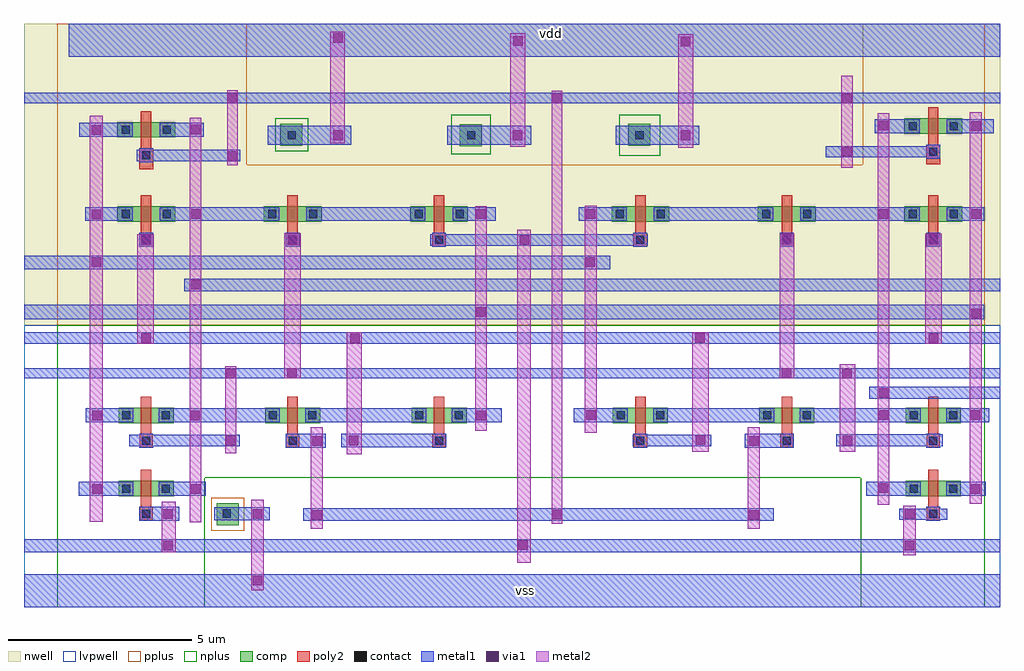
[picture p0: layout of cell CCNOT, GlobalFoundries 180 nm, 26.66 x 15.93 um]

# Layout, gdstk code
from math import pi, radians
import gdstk
lib = gdstk.Library(unit=1e-6, precision=1e-09)
def R(c, l, rs):  # rectangles x0, y0, x1, y1
    for r in rs: c.add(gdstk.rectangle(r[:2], r[2:], *l))
def P(c, l, *ps):  # polygons
    for p in ps: c.add(gdstk.Polygon(p, *l))
nwell = (21, 0)
comp = (22, 0)
poly2 = (30, 0)
pplus = (31, 0)
nplus = (32, 0)
contact = (33, 0)
metal1 = (34, 0)
via1 = (35, 0)
metal2 = (36, 0)
lvpwell = (204, 0)

nfet_1_2 = lib.new_cell('nfet$1$2')
R(nfet_1_2, comp, [(-0.42,0,0,0.42), (0,0,0.66,0.42), (0.66,0,1.08,0.42)])
R(nfet_1_2, poly2, [(0.19,-0.3,0.47,0.72), (0.15,0.72,0.51,1.08)])
R(nfet_1_2, nplus, [(-0.59,-0.24,1.25,0.66)])
R(nfet_1_2, contact, [(-0.32,0.1,-0.1,0.32), (0.76,0.1,0.98,0.32), (0.22,0.79,0.44,1.01)])
R(nfet_1_2, metal1, [(-0.4,0.02,-0.02,0.4), (0.68,0.02,1.06,0.4), (0.14,0.71,0.52,1.09)])

pfet_2 = lib.new_cell('pfet$2')
R(pfet_2, nwell, [(-0.9,-0.44,1.56,0.86)])
R(pfet_2, comp, [(-0.46,0,0,0.42), (0,0,0.66,0.42), (0.66,0,1.12,0.42)])
R(pfet_2, poly2, [(0.19,-0.3,0.47,0.72), (0.14,0.72,0.52,1.1)])
R(pfet_2, pplus, [(-0.63,-0.24,1.29,0.66)])
R(pfet_2, contact, [(-0.34,0.1,-0.12,0.32), (0.78,0.1,1,0.32), (0.22,0.8,0.44,1.02)])
R(pfet_2, metal1, [(-0.42,0.02,-0.04,0.4), (0.7,0.02,1.08,0.4), (0.14,0.72,0.52,1.1)])

ccnot = lib.new_cell('CCNOT')
R(ccnot, nwell, [(-7.665,7.255,18.99,15.48)])
R(ccnot, comp, [(-2.395,1.785,-1.795,2.385), (-2.395,1.785,-1.795,2.385), (16.45,4.6,16.77,4.98), (17.56,4.6,17.89,4.98), (4.235,12.145,4.835,12.745), (-0.66,12.15,-0.06,12.75), (8.835,12.15,9.435,12.75)])
R(ccnot, poly2, [(-4.52,11.505,-4.14,11.7), (16.98,11.645,17.36,11.8)])
R(ccnot, pplus, [(-2.55,1.64,-1.65,2.54)])
P(ccnot, pplus, [(-6.76,7.255),(-6.76,15.48),(-1.575,15.48),(-1.575,11.64),(15.245,11.64),(15.245,15.48),(18.57,15.48),(18.57,7.255)])
R(ccnot, nplus, [(8.595,11.88,9.715,13), (4.005,11.915,5.085,13.005), (-0.805,12,0.1,12.9)])
P(ccnot, nplus, [(-6.76,-0.445),(-6.76,7.255),(18.57,7.255),(18.57,-0.445),(15.19,-0.445),(15.19,3.09),(-2.725,3.09),(-2.725,-0.445)])
R(ccnot, contact, [(-2.24,2,-2.02,2.22), (-2.24,2,-2.02,2.22), (-0.46,12.325,-0.24,12.545), (4.445,12.325,4.665,12.545), (9.035,12.325,9.255,12.545)])
R(ccnot, metal1, [(-7.665,-0.445,18.99,0.455), (-7.665,1.05,18.99,1.4), (-4.14,1.91,-3.43,2.29), (-0.035,1.915,12.815,2.25), (-2.475,1.92,-0.955,2.28), (-2.475,1.92,-0.955,2.28), (16.245,1.945,17.555,2.245), (-6.17,2.6,-5.06,2.98), (-3.6,2.6,-2.695,2.98), (15.335,2.6,16.44,2.98), (17.9,2.6,18.595,2.98), (-0.14,3.91,0.57,4.29), (12.025,3.91,12.98,4.29), (1,3.92,3.865,4.285), (-4.785,3.945,-1.775,4.255), (8.965,3.945,11.11,4.265), (14.515,3.95,17.425,4.27), (-5.985,4.6,-5.06,4.98), (-3.6,4.6,-1.06,4.98), (0.395,4.6,3.055,4.98), (4.39,4.6,5.38,4.98), (7.355,4.6,8.82,4.98), (9.52,4.6,12.82,4.98), (13.895,4.6,16.44,4.98), (17.895,4.6,18.7,4.98), (15.425,5.24,18.99,5.575), (-7.665,5.805,18.99,6.075), (-7.665,7.42,18.565,7.81), (-3.295,8.185,18.99,8.525), (-7.665,8.775,8.345,9.15), (3.43,9.42,9.365,9.735), (-5.995,10.1,-5.08,10.48), (-3.61,10.1,-1.08,10.48), (0.42,10.1,2.965,10.48), (4.04,10.1,5.225,10.48), (7.49,10.1,8.42,10.48), (9.91,10.1,12.48,10.48), (13.875,10.1,16.42,10.48), (16.45,10.1,16.765,10.48), (17.56,10.1,17.89,10.48), (17.92,10.1,18.555,10.48), (-4.59,11.735,-1.755,12.04), (14.225,11.835,17.36,12.145), (-1.005,12.185,1.27,12.695), (3.895,12.185,6.195,12.695), (8.49,12.185,10.77,12.695), (-6.155,12.4,-5.08,12.78), (-3.63,12.4,-2.76,12.78), (15.565,12.5,16.42,12.88), (16.45,12.5,16.765,12.84), (17.56,12.5,17.89,12.845), (17.92,12.5,18.82,12.88), (-7.665,13.31,18.99,13.595), (-6.445,14.58,18.99,15.48)])
P(ccnot, metal1, [(-7.665,6.745),(-7.665,7.065),(11.005,7.065),(11.005,7.055),(18.99,7.055),(18.99,6.745)])
R(ccnot, via1, [(-1.42,0.145,-1.16,0.405), (-3.86,1.1,-3.6,1.36), (16.385,1.1,16.645,1.36), (5.83,1.115,6.09,1.375), (0.2,1.945,0.46,2.205), (12.135,1.945,12.395,2.205), (6.765,1.955,7.025,2.215), (-3.86,1.965,-3.6,2.225), (-1.415,1.965,-1.155,2.225), (-1.415,1.965,-1.155,2.225), (16.395,1.965,16.655,2.225), (-5.8,2.655,-5.54,2.915), (-3.105,2.655,-2.845,2.915), (18.19,2.655,18.45,2.915), (15.67,2.67,15.93,2.93), (0.205,3.96,0.465,4.22), (12.14,3.96,12.4,4.22), (1.21,3.975,1.47,4.235), (14.695,3.975,14.955,4.235), (-2.155,3.98,-1.895,4.24), (10.675,3.99,10.935,4.25), (-5.8,4.655,-5.54,4.915), (4.69,4.655,4.95,4.915), (-3.12,4.66,-2.86,4.92), (7.695,4.665,7.955,4.925), (15.68,4.665,15.94,4.925), (18.19,4.665,18.45,4.925), (15.69,5.27,15.95,5.53), (-2.145,5.81,-1.885,6.07), (14.685,5.81,14.945,6.07), (-0.47,5.815,-0.21,6.075), (13.03,5.815,13.29,6.075), (1.24,6.765,1.5,7.025), (17.045,6.77,17.305,7.03), (-4.465,6.775,-4.205,7.035), (10.665,6.775,10.925,7.035), (18.2,7.445,18.46,7.705), (4.68,7.48,4.94,7.74), (-3.095,8.23,-2.835,8.49), (-5.82,8.845,-5.56,9.105), (7.665,8.855,7.925,9.115), (5.87,9.45,6.13,9.71), (-4.46,9.455,-4.2,9.715), (-0.465,9.455,-0.205,9.715), (17.045,9.46,17.305,9.72), (13.035,9.465,13.295,9.725), (-5.815,10.15,-5.555,10.41), (4.69,10.16,4.95,10.42), (7.68,10.16,7.94,10.42), (18.205,10.16,18.465,10.42), (-3.1,10.165,-2.84,10.425), (15.675,10.165,15.935,10.425), (-2.1,11.75,-1.84,12.01), (14.68,11.86,14.94,12.12), (0.78,12.31,1.04,12.57), (5.68,12.31,5.94,12.57), (10.275,12.31,10.535,12.57), (-5.82,12.46,-5.56,12.72), (-3.105,12.465,-2.845,12.725), (18.205,12.565,18.465,12.825), (15.675,12.575,15.935,12.835), (14.68,13.32,14.94,13.58), (-2.11,13.325,-1.85,13.585), (6.765,13.325,7.025,13.585), (10.275,14.865,10.535,15.125), (5.695,14.89,5.955,15.15), (0.775,14.97,1.035,15.23)])
P(ccnot, via1, [(-0.305,3.235),(-0.305,3.235),(-0.305,3.235),(-0.305,3.235)])
R(ccnot, metal2, [(-1.465,0.02,-1.12,2.48), (5.805,0.76,6.175,9.86), (16.35,0.965,16.685,2.315), (-3.905,1.05,-3.525,2.425), (0.17,1.7,0.495,4.465), (12.105,1.7,12.43,4.465), (6.75,1.825,7.04,13.66), (-3.135,1.87,-2.82,12.92), (-5.865,1.89,-5.51,12.975), (15.65,2.355,15.965,13.04), (18.16,2.37,18.49,13.065), (1.155,3.735,1.56,7.065), (-2.17,3.76,-1.875,6.13), (10.59,3.79,11.04,7.065), (14.62,3.795,15.035,6.185), (7.645,4.32,7.975,10.515), (-0.56,5.805,-0.11,9.77), (12.97,5.805,13.37,9.745), (-4.57,6.745,-4.12,9.735), (16.945,6.745,17.395,9.755), (14.655,11.555,14.965,14.07), (-2.12,11.615,-1.83,13.675), (10.2,12.1,10.61,15.195), (5.62,12.125,6.03,15.22), (0.7,12.215,1.1,15.265)])
P(ccnot, metal2, [(4.66,4.365),(4.66,10.495),(4.97,10.495),(4.97,10.465),(4.975,10.465),(4.975,4.365)])
R(ccnot, lvpwell, [(-7.665,-0.445,18.99,7.255)])
ccnot.add(gdstk.Reference(nfet_1_2, (-4,5), rotation=pi))
ccnot.add(gdstk.Reference(nfet_1_2, (17.5,3), rotation=pi))
ccnot.add(gdstk.Reference(nfet_1_2, (4,5), rotation=pi))
ccnot.add(gdstk.Reference(nfet_1_2, (13.5,5), rotation=pi))
ccnot.add(gdstk.Reference(nfet_1_2, (0,5), rotation=pi))
ccnot.add(gdstk.Reference(nfet_1_2, (17.5,5), rotation=pi))
ccnot.add(gdstk.Reference(nfet_1_2, (9.5,5), rotation=pi))
ccnot.add(gdstk.Reference(pfet_2, (-4,12.8), rotation=pi))
ccnot.add(gdstk.Reference(pfet_2, (17.5,12.9), rotation=pi))
ccnot.add(gdstk.Reference(pfet_2, (17.5,10.5), rotation=pi))
ccnot.add(gdstk.Reference(pfet_2, (13.5,10.5), rotation=pi))
ccnot.add(gdstk.Reference(pfet_2, (9.5,10.5), rotation=pi))
ccnot.add(gdstk.Reference(pfet_2, (4,10.5), rotation=pi))
ccnot.add(gdstk.Reference(pfet_2, (0,10.5), rotation=pi))
ccnot.add(gdstk.Reference(pfet_2, (-4,10.5), rotation=pi))
ccnot.add(gdstk.Reference(nfet_1_2, (-4,3), rotation=pi))
ccnot.add(gdstk.Label('vss', (6.04,0.02), layer=34, texttype=10))
ccnot.add(gdstk.Label('vdd', (6.745,15.23), layer=34, texttype=10))

lib.write_gds('CCNOT.gds')
